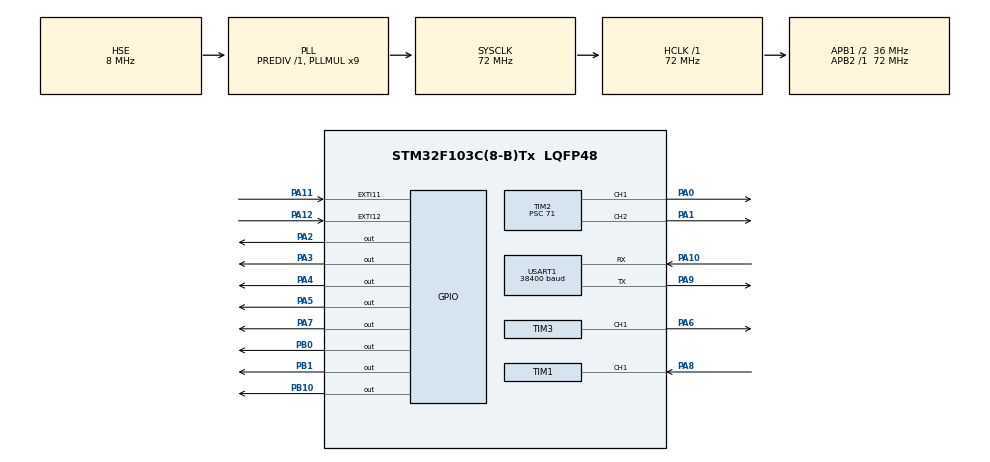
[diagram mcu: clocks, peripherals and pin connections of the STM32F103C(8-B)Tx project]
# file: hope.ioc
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FREERTOS.INCLUDE_vTaskDelayUntil=1
FREERTOS.Queues01=uartQueue,16,uint16_t,0,Dynamic,NULL,NULL
FREERTOS.Tasks01=defaultTask,0,128,StartDefaultTask,Default,NULL,Dynamic,NULL,NULL;myTask02,-3,128,StartTask02,Default,NULL,Dynamic,NULL,NULL
FREERTOS.configTOTAL_HEAP_SIZE=10240
Mcu.Family=STM32F1
Mcu.Name=STM32F103C(8-B)Tx
Mcu.Package=LQFP48
NVIC.EXTI15_10_IRQn=true\:5\:0\:false\:false\:true\:true\:true\:true\:true
NVIC.PriorityGroup=NVIC_PRIORITYGROUP_4
NVIC.TIM1_CC_IRQn=true\:5\:0\:false\:false\:true\:true\:true\:true\:true
NVIC.TIM4_IRQn=true\:15\:0\:false\:false\:true\:false\:false\:true\:true
NVIC.TimeBase=TIM4_IRQn
NVIC.TimeBaseIP=TIM4
NVIC.USART1_IRQn=true\:5\:0\:false\:false\:true\:true\:true\:true\:true
PA0-WKUP.Signal=S_TIM2_CH1_ETR
PA1.Signal=S_TIM2_CH2
PA10.Mode=Asynchronous
PA10.Signal=USART1_RX
PA11.GPIO_ModeDefaultEXTI=GPIO_MODE_IT_RISING_FALLING
PA11.Signal=GPXTI11
PA12.GPIO_ModeDefaultEXTI=GPIO_MODE_IT_RISING_FALLING
PA12.Signal=GPXTI12
PA13.Mode=Serial_Wire
PA13.Signal=SYS_JTMS-SWDIO
PA14.Mode=Serial_Wire
PA14.Signal=SYS_JTCK-SWCLK
PA2.Signal=GPIO_Output
PA3.Signal=GPIO_Output
PA4.Signal=GPIO_Output
PA5.Signal=GPIO_Output
PA6.Signal=S_TIM3_CH1
PA7.Signal=GPIO_Output
PA8.Signal=S_TIM1_CH1
PA9.Mode=Asynchronous
PA9.Signal=USART1_TX
PB0.Signal=GPIO_Output
PB1.Signal=GPIO_Output
PB10.Signal=GPIO_Output
PD0-OSC_IN.Mode=HSE-External-Oscillator
PD0-OSC_IN.Signal=RCC_OSC_IN
PD1-OSC_OUT.Mode=HSE-External-Oscillator
PD1-OSC_OUT.Signal=RCC_OSC_OUT
ProjectManager.HeapSize=0x200
ProjectManager.StackSize=0x400
ProjectManager.TargetToolchain=Makefile
RCC.AHBFreq_Value=72000000
RCC.APB1CLKDivider=RCC_HCLK_DIV2
RCC.APB1Freq_Value=36000000
RCC.APB1TimFreq_Value=72000000
RCC.APB2Freq_Value=72000000
RCC.APB2TimFreq_Value=72000000
RCC.HCLKFreq_Value=72000000
RCC.PLLMUL=RCC_PLL_MUL9
RCC.PLLSourceVirtual=RCC_PLLSOURCE_HSE
RCC.SYSCLKFreq_VALUE=72000000
RCC.SYSCLKSource=RCC_SYSCLKSOURCE_PLLCLK
RCC.USBFreq_Value=72000000
SH.S_TIM1_CH1.0=TIM1_CH1,Input_Capture1_from_TI1
SH.S_TIM2_CH1_ETR.0=TIM2_CH1,PWM Generation1 CH1
SH.S_TIM2_CH2.0=TIM2_CH2,PWM Generation2 CH2
SH.S_TIM3_CH1.0=TIM3_CH1,PWM Generation1 CH1
TIM1.Channel-Input_Capture1_from_TI1=TIM_CHANNEL_1
TIM1.Prescaler=71
TIM2.Channel-PWM\ Generation1\ CH1=TIM_CHANNEL_1
TIM2.Channel-PWM\ Generation2\ CH2=TIM_CHANNEL_2
TIM2.Period=999
TIM2.Prescaler=71
TIM3.Channel-PWM\ Generation1\ CH1=TIM_CHANNEL_1
TIM3.Period=19999
TIM3.Prescaler=71
USART1.BaudRate=38400
USART1.VirtualMode=VM_ASYNC
VP_FREERTOS_VS_CMSIS_V1.Mode=CMSIS_V1
VP_SYS_VS_tim4.Mode=TIM4
board=custom

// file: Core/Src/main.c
/* USER CODE BEGIN Header */
/**
 ******************************************************************************
 * @file           : main.c
 * @brief          : Main program body
 ******************************************************************************
 * @attention
 *
 * Copyright (c) 2026 STMicroelectronics.
 * All rights reserved.
 *
 * This software is licensed under terms that can be found in the LICENSE file
 * in the root directory of this software component.
 * If no LICENSE file comes with this software, it is provided AS-IS.
 *
 ******************************************************************************
 */
/* USER CODE END Header */
#include "main.h"
#include "cmsis_os.h"

/* USER CODE BEGIN Includes */
#include "l298n.h"
#include "servo.h"
#include "tmb12a05.h"
#include "uart.h"
#include "pi_controller.h"
#include "autonomous.h"
#include "led.h"
/* USER CODE END Includes */

TIM_HandleTypeDef htim1;
TIM_HandleTypeDef htim2;
TIM_HandleTypeDef htim3;

UART_HandleTypeDef huart1;

osThreadId defaultTaskHandle;
osThreadId myTask02Handle;
osMessageQId uartQueueHandle;
/* USER CODE BEGIN PV */
osThreadId motorControlTaskHandle;
osThreadId ultrasonicTaskHandle;
osThreadId commandTaskHandle;
osThreadId telemetryTaskHandle;

QueueHandle_t telemQueue;

typedef struct
{
  float rpm_L;
  float rpm_R;
  float pwm_L;
  float pwm_R;
} TelemetryData;

volatile uint8_t rxData;
volatile uint8_t pendingCmd = 0;
volatile int32_t left_ticks = 0;
volatile int32_t right_ticks = 0;
volatile uint8_t turning_ticks = 0;

volatile float target_rpm = 200.0f;
uint8_t isIncreasing = 1;
uint8_t currentAngle = 0;
uint8_t buffer[256];
uint8_t isAutonomous = 0;
uint8_t isBlocked = 0;
uint8_t sonarScan = 0;

// enum DIR
// {
//   IDLE,
//   FRONT,
//   LEFT,
//   RIGHT,
//   BACK
// };

// enum CAR_STATE {
//   SCAN,
//   MOVE
// };

volatile uint8_t looKingDirection = FRONT;
// volatile uint8_t servoDirection = FRONT;
volatile uint8_t goingDirection = FRONT;
volatile uint8_t carState = MOVE;
volatile uint8_t scanDone = 0;

TMB12A05 t = {0};
LED led_left;
LED led_right;
Servo s;
L298N_Motor left_motor;
L298N_Motor right_motor;
PI_Controller ctl_L;
PI_Controller ctl_R;
AutonomousController auto_ctl;

volatile int8_t motor_x = 0;
volatile int8_t motor_y = 0;

volatile uint32_t L_t = 0, L_dt = 0, R_t = 0, R_dt = 0;
// uint8_t data;
/* USER CODE END PV */

void SystemClock_Config(void);
static void MX_GPIO_Init(void);
static void MX_TIM1_Init(void);
static void MX_TIM2_Init(void);
static void MX_TIM3_Init(void);
static void MX_USART1_UART_Init(void);
void StartDefaultTask(void const * argument);
void StartTask02(void const * argument);

/* USER CODE BEGIN PFP */
void StartMotorControlTask(void const *argument);
void StartUltrasonicTask(void const *argument);
void StartCommandTask(void const *argument);
void StartTelemetryTask(void const *argument);

void HAL_GPIO_EXTI_Callback(uint16_t GPIO_Pin)
{
  uint32_t now = DWT->CYCCNT;
  if (GPIO_Pin == GPIO_PIN_12)
  {
    // HAL_GPIO_WritePin(GPIOC, GPIO_PIN_13, GPIO_PIN_SET);
    L_dt = now - L_t;
    L_t = now;
    ++left_ticks;
    // turning_ticks += (goingDirection == RIGHT || goingDirection == BACK) ? 1:0;
    auto_ctl.turning_ticks += (auto_ctl.goingDirection == RIGHT || auto_ctl.goingDirection == BACK) ? 1:0;
  }
  else if (GPIO_Pin == GPIO_PIN_11)
  {
    R_dt = now - R_t;
    R_t = now;
    ++right_ticks;
    // turning_ticks += (goingDirection == LEFT) ? 1:0;
    auto_ctl.turning_ticks += (auto_ctl.goingDirection == LEFT || auto_ctl.goingDirection == BACK) ? 1:0;
  }

  else
  {
    __NOP();
  }
}

void delay_us(uint16_t time_us)
{
  __HAL_TIM_SET_COUNTER(&htim1, 0);

  while (htim1.Instance->CNT < time_us)
    ;
}

void delay_ms(uint16_t time_ms)
{
  for (uint16_t i = 0; i < time_ms; ++i)
  {
    delay_us(1000);
  }
}

// void delay (uint16_t time)
// {
// 	__HAL_TIM_SET_COUNTER(&htim1, 0);
// 	while (__HAL_TIM_GET_COUNTER (&htim1) < time);
// }

uint32_t IC_Val1 = 0;
uint32_t IC_Val2 = 0;
uint32_t Difference = 0;
uint8_t Is_First_Captured = 0; // is the first value captured ?
uint32_t Distance = 400;
uint32_t leftDistance = 0;
uint32_t rightDistance = 0;

#define TRIG_PIN GPIO_PIN_7
#define TRIG_PORT GPIOA

void HAL_TIM_IC_CaptureCallback(TIM_HandleTypeDef *htim)
{
  if (htim->Channel == HAL_TIM_ACTIVE_CHANNEL_1 && htim->Instance == TIM1) // if the interrupt source is channel1
  {
    if (Is_First_Captured == 0) // if the first value is not captured
    {
      IC_Val1 = HAL_TIM_ReadCapturedValue(htim, TIM_CHANNEL_1); // read the first value
      Is_First_Captured = 1;                                    // set the first captured as true
      // Now change the polarity to falling edge
      __HAL_TIM_SET_CAPTUREPOLARITY(htim, TIM_CHANNEL_1, TIM_INPUTCHANNELPOLARITY_FALLING);
    }

    else if (Is_First_Captured == 1) // if the first is already captured
    {
      IC_Val2 = HAL_TIM_ReadCapturedValue(htim, TIM_CHANNEL_1); // read second value
      __HAL_TIM_SET_COUNTER(htim, 0);                           // reset the counter

      if (IC_Val2 > IC_Val1)
      {
        Difference = IC_Val2 - IC_Val1;
      }

      else if (IC_Val1 > IC_Val2)
      {
        Difference = (0xffff - IC_Val1) + IC_Val2;
      }

      Distance = Difference * .034 / 2;
      Is_First_Captured = 0; // set it back to false

      if (isAutonomous)
      {
        if(auto_ctl.looKingDirection == FRONT) {
          auto_ctl.frontDistance = Distance;
        }
        else if (!auto_ctl.leftDistance && auto_ctl.looKingDirection == LEFT)
        {
          // leftDistance = Distance;
          auto_ctl.leftDistance = Distance;
        }
        else if (!auto_ctl.rightDistance && auto_ctl.looKingDirection == RIGHT)
        {
          // rightDistance = Distance;
          auto_ctl.rightDistance = Distance;
        }
      }

      // set polarity to rising edge
      __HAL_TIM_SET_CAPTUREPOLARITY(htim, TIM_CHANNEL_1, TIM_INPUTCHANNELPOLARITY_RISING);
      __HAL_TIM_DISABLE_IT(&htim1, TIM_IT_CC1);
    }
  }
}

uint32_t pulse_us = 0;

void HCSR04_Read(void)
{
  HAL_GPIO_WritePin(TRIG_PORT, TRIG_PIN, GPIO_PIN_SET); // pull the TRIG pin HIGH
  // delay_us(10);                                           // wait for 10 us
  for (volatile uint16_t i = 0; i < 720; ++i)
  {
    __NOP();
  }
  HAL_GPIO_WritePin(TRIG_PORT, TRIG_PIN, GPIO_PIN_RESET); // pull the TRIG pin low

  __HAL_TIM_ENABLE_IT(&htim1, TIM_IT_CC1);
}

/* USER CODE END PFP */

int main(void)
{

  /* USER CODE BEGIN 1 */
  // TMB12A05 t = {0};
  // Servo s;
  // L298N_Motor left_motor;
  left_motor.htim = &htim2;
  left_motor.channel = TIM_CHANNEL_1;
  left_motor.forward_port = GPIOA;
  left_motor.forward_pin = GPIO_PIN_2;
  left_motor.backward_port = GPIOA;
  left_motor.backward_pin = GPIO_PIN_3;
  // L298N_Motor right_motor;
  right_motor.htim = &htim2;
  right_motor.channel = TIM_CHANNEL_2;
  right_motor.forward_port = GPIOA;
  right_motor.forward_pin = GPIO_PIN_4;
  right_motor.backward_port = GPIOA;
  right_motor.backward_pin = GPIO_PIN_5;
  // uint8_t data;
  /* USER CODE END 1 */

  /* MCU Configuration--------------------------------------------------------*/

  /* Reset of all peripherals, Initializes the Flash interface and the Systick. */
  HAL_Init();

  /* Configure the system clock */
  SystemClock_Config();

  /* Initialize all configured peripherals */
  MX_GPIO_Init();
  MX_TIM1_Init();
  MX_TIM2_Init();
  MX_TIM3_Init();
  MX_USART1_UART_Init();
  /* USER CODE BEGIN 2 */
  CoreDebug->DEMCR |= CoreDebug_DEMCR_TRCENA_Msk;
  DWT->CYCCNT = 0;
  DWT->CTRL |= DWT_CTRL_CYCCNTENA_Msk; // 72 MHz

  Servo_Init(&s, &htim3, TIM_CHANNEL_1, 500, 2500);
  // uint8_t buffer[256];
  UART_Init(&huart1, buffer, 256);
  HAL_TIM_IC_Start_IT(&htim1, TIM_CHANNEL_1);
  L298N_Motor_Init(&left_motor);
  L298N_Motor_Init(&right_motor);
  TMB12A05_Init(&t, GPIOB, GPIO_PIN_0, 1);
  LED_Init(&led_left, GPIOB, GPIO_PIN_10, 1);
  LED_Init(&led_right, GPIOB, GPIO_PIN_1, 1);
  AutonomousController_Init(&auto_ctl);
  telemQueue = xQueueCreate(1, sizeof(TelemetryData));
  /* USER CODE END 2 */

  /* Create the queue(s) */
  /* definition and creation of uartQueue */
  osMessageQDef(uartQueue, 16, uint16_t);
  uartQueueHandle = osMessageCreate(osMessageQ(uartQueue), NULL);

  /* Create the thread(s) */
  /* definition and creation of defaultTask */
  osThreadDef(defaultTask, StartDefaultTask, osPriorityNormal, 0, 128);
  defaultTaskHandle = osThreadCreate(osThread(defaultTask), NULL);

  /* definition and creation of myTask02 */
  osThreadDef(myTask02, StartTask02, osPriorityIdle, 0, 128);
  myTask02Handle = osThreadCreate(osThread(myTask02), NULL);

  /* USER CODE BEGIN RTOS_THREADS */
  /* add threads, ... */
  osThreadDef(motorControlTask, StartMotorControlTask, osPriorityRealtime, 0, 128);
  motorControlTaskHandle = osThreadCreate(osThread(motorControlTask), NULL);

  osThreadDef(ultrasonicControlTask, StartUltrasonicTask, osPriorityHigh, 0, 128);
  ultrasonicTaskHandle = osThreadCreate(osThread(ultrasonicControlTask), NULL);

  osThreadDef(commandTask, StartCommandTask, osPriorityAboveNormal, 0, 512);
  commandTaskHandle = osThreadCreate(osThread(commandTask), NULL);
  UART_SetRxTaskHandle((TaskHandle_t)commandTaskHandle);

  osThreadDef(telemetryTask, StartTelemetryTask, osPriorityNormal, 0, 256);
  telemetryTaskHandle = osThreadCreate(osThread(telemetryTask), NULL);
  /* USER CODE END RTOS_THREADS */

  /* Start scheduler */
  osKernelStart();

  /* We should never get here as control is now taken by the scheduler */

  /* Infinite loop */
  while (1)
  {

  }
}

void SystemClock_Config(void)
{
  RCC_OscInitTypeDef RCC_OscInitStruct = {0};
  RCC_ClkInitTypeDef RCC_ClkInitStruct = {0};

  /** Initializes the RCC Oscillators according to the specified parameters
  * in the RCC_OscInitTypeDef structure.
  */
  RCC_OscInitStruct.OscillatorType = RCC_OSCILLATORTYPE_HSE;
  RCC_OscInitStruct.HSEState = RCC_HSE_ON;
  RCC_OscInitStruct.HSEPredivValue = RCC_HSE_PREDIV_DIV1;
  RCC_OscInitStruct.HSIState = RCC_HSI_ON;
  RCC_OscInitStruct.PLL.PLLState = RCC_PLL_ON;
  RCC_OscInitStruct.PLL.PLLSource = RCC_PLLSOURCE_HSE;
  RCC_OscInitStruct.PLL.PLLMUL = RCC_PLL_MUL9;
  if (HAL_RCC_OscConfig(&RCC_OscInitStruct) != HAL_OK)
  {
    Error_Handler();
  }

  /** Initializes the CPU, AHB and APB buses clocks
  */
  RCC_ClkInitStruct.ClockType = RCC_CLOCKTYPE_HCLK|RCC_CLOCKTYPE_SYSCLK
                              |RCC_CLOCKTYPE_PCLK1|RCC_CLOCKTYPE_PCLK2;
  RCC_ClkInitStruct.SYSCLKSource = RCC_SYSCLKSOURCE_PLLCLK;
  RCC_ClkInitStruct.AHBCLKDivider = RCC_SYSCLK_DIV1;
  RCC_ClkInitStruct.APB1CLKDivider = RCC_HCLK_DIV2;
  RCC_ClkInitStruct.APB2CLKDivider = RCC_HCLK_DIV1;

  if (HAL_RCC_ClockConfig(&RCC_ClkInitStruct, FLASH_LATENCY_2) != HAL_OK)
  {
    Error_Handler();
  }
}

static void MX_TIM1_Init(void)
{

  TIM_MasterConfigTypeDef sMasterConfig = {0};
  TIM_IC_InitTypeDef sConfigIC = {0};

  htim1.Instance = TIM1;
  htim1.Init.Prescaler = 71;
  htim1.Init.CounterMode = TIM_COUNTERMODE_UP;
  htim1.Init.Period = 65535;
  htim1.Init.ClockDivision = TIM_CLOCKDIVISION_DIV1;
  htim1.Init.RepetitionCounter = 0;
  htim1.Init.AutoReloadPreload = TIM_AUTORELOAD_PRELOAD_DISABLE;
  if (HAL_TIM_IC_Init(&htim1) != HAL_OK)
  {
    Error_Handler();
  }
  sMasterConfig.MasterOutputTrigger = TIM_TRGO_RESET;
  sMasterConfig.MasterSlaveMode = TIM_MASTERSLAVEMODE_DISABLE;
  if (HAL_TIMEx_MasterConfigSynchronization(&htim1, &sMasterConfig) != HAL_OK)
  {
    Error_Handler();
  }
  sConfigIC.ICPolarity = TIM_INPUTCHANNELPOLARITY_RISING;
  sConfigIC.ICSelection = TIM_ICSELECTION_DIRECTTI;
  sConfigIC.ICPrescaler = TIM_ICPSC_DIV1;
  sConfigIC.ICFilter = 0;
  if (HAL_TIM_IC_ConfigChannel(&htim1, &sConfigIC, TIM_CHANNEL_1) != HAL_OK)
  {
    Error_Handler();
  }

}

static void MX_TIM2_Init(void)
{

  TIM_MasterConfigTypeDef sMasterConfig = {0};
  TIM_OC_InitTypeDef sConfigOC = {0};

  htim2.Instance = TIM2;
  htim2.Init.Prescaler = 71;
  htim2.Init.CounterMode = TIM_COUNTERMODE_UP;
  htim2.Init.Period = 999;
  htim2.Init.ClockDivision = TIM_CLOCKDIVISION_DIV1;
  htim2.Init.AutoReloadPreload = TIM_AUTORELOAD_PRELOAD_DISABLE;
  if (HAL_TIM_PWM_Init(&htim2) != HAL_OK)
  {
    Error_Handler();
  }
  sMasterConfig.MasterOutputTrigger = TIM_TRGO_RESET;
  sMasterConfig.MasterSlaveMode = TIM_MASTERSLAVEMODE_DISABLE;
  if (HAL_TIMEx_MasterConfigSynchronization(&htim2, &sMasterConfig) != HAL_OK)
  {
    Error_Handler();
  }
  sConfigOC.OCMode = TIM_OCMODE_PWM1;
  sConfigOC.Pulse = 0;
  sConfigOC.OCPolarity = TIM_OCPOLARITY_HIGH;
  sConfigOC.OCFastMode = TIM_OCFAST_DISABLE;
  if (HAL_TIM_PWM_ConfigChannel(&htim2, &sConfigOC, TIM_CHANNEL_1) != HAL_OK)
  {
    Error_Handler();
  }
  if (HAL_TIM_PWM_ConfigChannel(&htim2, &sConfigOC, TIM_CHANNEL_2) != HAL_OK)
  {
    Error_Handler();
  }
  HAL_TIM_MspPostInit(&htim2);

}

static void MX_TIM3_Init(void)
{

  TIM_MasterConfigTypeDef sMasterConfig = {0};
  TIM_OC_InitTypeDef sConfigOC = {0};

  htim3.Instance = TIM3;
  htim3.Init.Prescaler = 71;
  htim3.Init.CounterMode = TIM_COUNTERMODE_UP;
  htim3.Init.Period = 19999;
  htim3.Init.ClockDivision = TIM_CLOCKDIVISION_DIV1;
  htim3.Init.AutoReloadPreload = TIM_AUTORELOAD_PRELOAD_DISABLE;
  if (HAL_TIM_PWM_Init(&htim3) != HAL_OK)
  {
    Error_Handler();
  }
  sMasterConfig.MasterOutputTrigger = TIM_TRGO_RESET;
  sMasterConfig.MasterSlaveMode = TIM_MASTERSLAVEMODE_DISABLE;
  if (HAL_TIMEx_MasterConfigSynchronization(&htim3, &sMasterConfig) != HAL_OK)
  {
    Error_Handler();
  }
  sConfigOC.OCMode = TIM_OCMODE_PWM1;
  sConfigOC.Pulse = 0;
  sConfigOC.OCPolarity = TIM_OCPOLARITY_HIGH;
  sConfigOC.OCFastMode = TIM_OCFAST_DISABLE;
  if (HAL_TIM_PWM_ConfigChannel(&htim3, &sConfigOC, TIM_CHANNEL_1) != HAL_OK)
  {
    Error_Handler();
  }
  HAL_TIM_MspPostInit(&htim3);

}

static void MX_USART1_UART_Init(void)
{

  huart1.Instance = USART1;
  huart1.Init.BaudRate = 38400;
  huart1.Init.WordLength = UART_WORDLENGTH_8B;
  huart1.Init.StopBits = UART_STOPBITS_1;
  huart1.Init.Parity = UART_PARITY_NONE;
  huart1.Init.Mode = UART_MODE_TX_RX;
  huart1.Init.HwFlowCtl = UART_HWCONTROL_NONE;
  huart1.Init.OverSampling = UART_OVERSAMPLING_16;
  if (HAL_UART_Init(&huart1) != HAL_OK)
  {
    Error_Handler();
  }

}

static void MX_GPIO_Init(void)
{
  GPIO_InitTypeDef GPIO_InitStruct = {0};

  /* GPIO Ports Clock Enable */
  __HAL_RCC_GPIOD_CLK_ENABLE();
  __HAL_RCC_GPIOA_CLK_ENABLE();
  __HAL_RCC_GPIOB_CLK_ENABLE();

  /*Configure GPIO pin Output Level */
  HAL_GPIO_WritePin(GPIOA, GPIO_PIN_2|GPIO_PIN_3|GPIO_PIN_4|GPIO_PIN_5
                          |GPIO_PIN_7, GPIO_PIN_RESET);

  /*Configure GPIO pin Output Level */
  HAL_GPIO_WritePin(GPIOB, GPIO_PIN_0|GPIO_PIN_1|GPIO_PIN_10, GPIO_PIN_RESET);

  /*Configure GPIO pins : PA2 PA3 PA4 PA5
                           PA7 */
  GPIO_InitStruct.Pin = GPIO_PIN_2|GPIO_PIN_3|GPIO_PIN_4|GPIO_PIN_5
                          |GPIO_PIN_7;
  GPIO_InitStruct.Mode = GPIO_MODE_OUTPUT_PP;
  GPIO_InitStruct.Pull = GPIO_NOPULL;
  GPIO_InitStruct.Speed = GPIO_SPEED_FREQ_LOW;
  HAL_GPIO_Init(GPIOA, &GPIO_InitStruct);

  /*Configure GPIO pins : PB0 PB1 PB10 */
  GPIO_InitStruct.Pin = GPIO_PIN_0|GPIO_PIN_1|GPIO_PIN_10;
  GPIO_InitStruct.Mode = GPIO_MODE_OUTPUT_PP;
  GPIO_InitStruct.Pull = GPIO_NOPULL;
  GPIO_InitStruct.Speed = GPIO_SPEED_FREQ_LOW;
  HAL_GPIO_Init(GPIOB, &GPIO_InitStruct);

  /*Configure GPIO pins : PA11 PA12 */
  GPIO_InitStruct.Pin = GPIO_PIN_11|GPIO_PIN_12;
  GPIO_InitStruct.Mode = GPIO_MODE_IT_RISING_FALLING;
  GPIO_InitStruct.Pull = GPIO_NOPULL;
  HAL_GPIO_Init(GPIOA, &GPIO_InitStruct);

  /* EXTI interrupt init*/
  HAL_NVIC_SetPriority(EXTI15_10_IRQn, 5, 0);
  HAL_NVIC_EnableIRQ(EXTI15_10_IRQn);

}

/* USER CODE BEGIN 4 */
void StartMotorControlTask(void const *argument)
{
  TickType_t xLastWakeTime = xTaskGetTickCount();
  const TickType_t xFrequency = pdMS_TO_TICKS(100);
  int32_t last_L = 0;
  int32_t last_R = 0;

  Speed spd_L = {0};
  Speed spd_R = {0};

  for (;;)
  {
    if (isAutonomous)
    {
      AutonomousController_Update(&auto_ctl);
    }

    if (pendingCmd == 'M' || isAutonomous)
    {
      if(auto_ctl.carState == SCAN) {
        L298N_Coast(&right_motor);
        L298N_Coast(&left_motor);
        vTaskDelayUntil(&xLastWakeTime, xFrequency);
        continue;
      }

      if (Distance <= 15 && (motor_x - motor_y) > 0 && (-motor_x - motor_y) > 0 && !sonarScan)
      {
        L298N_Brake(&right_motor);
        L298N_Brake(&left_motor);
        vTaskDelayUntil(&xLastWakeTime, xFrequency);
        continue;
      }

      float target_rpm_L = 0;
      float target_rpm_R = 0;

      if (!isAutonomous)
      {
        target_rpm_L = (motor_x - motor_y) / 100.0f * MAX_RPM;
        target_rpm_R = (-motor_x - motor_y) / 100.0f * MAX_RPM;
      }
      else
      {
        target_rpm_L = AUTO_PWM / 100.0f * MAX_RPM;
        target_rpm_R = AUTO_PWM / 100.0f * MAX_RPM;
      }

      taskENTER_CRITICAL();
      uint32_t tL = L_t;
      uint32_t tR = R_t;
      uint32_t now = DWT->CYCCNT;
      taskEXIT_CRITICAL();

      float rpm_L = Speed_Update(&spd_L, left_ticks, tL, now);
      float rpm_R = Speed_Update(&spd_R, right_ticks, tR, now);

      float pwm_L = System_Input(&ctl_L, BASE_PWM, (fabsf(target_rpm_L) - MIN_RPM) / (MAX_RPM - MIN_RPM) * (100.0f - BASE_PWM), (fabsf(target_rpm_L) - rpm_L) / (MAX_RPM - MIN_RPM) * (100.0f - BASE_PWM), 0.1f);

      float pwm_R = System_Input(&ctl_R, BASE_PWM, (fabsf(target_rpm_R) - MIN_RPM) / (MAX_RPM - MIN_RPM) * (100.0f - BASE_PWM), (fabsf(target_rpm_R) - rpm_R) / (MAX_RPM - MIN_RPM) * (100.0f - BASE_PWM), 0.1f);

      if (!isAutonomous)
      {
        if (target_rpm_L > 0)
        {
          L298N_Forward(&left_motor, (uint8_t)pwm_L);
        }
        else if (target_rpm_L < 0)
        {
          L298N_Backward(&left_motor, (uint8_t)pwm_L);
        }
        else
        {
          L298N_Coast(&left_motor);
        }

        if (target_rpm_R > 0)
        {
          L298N_Forward(&right_motor, (uint8_t)pwm_R);
        }
        else if (target_rpm_R < 0)
        {
          L298N_Backward(&right_motor, (uint8_t)pwm_R);
        }
        else
        {
          L298N_Coast(&right_motor);
        }
      } else if (auto_ctl.carState == MOVE){
        switch (auto_ctl.goingDirection)
        {
        case FRONT:
          if(auto_ctl.isBlocked) break;
          L298N_Forward(&left_motor, (uint8_t)pwm_L);
          L298N_Forward(&right_motor, (uint8_t)pwm_R);
          break;
        case RIGHT:
          L298N_Forward(&left_motor, (uint8_t)pwm_L);
          L298N_Backward(&right_motor, (uint8_t)pwm_R);
          // ctl_R.integral = 0;
          break;
        case LEFT:
          L298N_Forward(&right_motor, (uint8_t)pwm_R);
          L298N_Backward(&left_motor, (uint8_t)pwm_L);
          // ctl_L.integral = 0;
          break;
        case BACK:
          L298N_Backward(&left_motor, (uint8_t)pwm_L);
          L298N_Backward(&right_motor, (uint8_t)pwm_R);
          break;
        case IDLE:
          L298N_Brake(&left_motor);
          L298N_Brake(&right_motor);
          ctl_L.integral = 0;
          ctl_R.integral = 0;
          break;
        default:
          break;
        }
      }

      TelemetryData currentData;
      currentData.pwm_L = pwm_L;
      currentData.pwm_R = pwm_R;
      currentData.rpm_L = rpm_L;
      currentData.rpm_R = rpm_R;

      xQueueOverwrite(telemQueue, &currentData);
    }

    vTaskDelayUntil(&xLastWakeTime, xFrequency);
  }
}

void StartUltrasonicTask(void const *argument)
{
  for (;;)
  {
    HCSR04_Read();
    osDelay(100);
  }
}

void StartCommandTask(void const *argument)
{
  uint8_t byte;
  uint8_t in_M = 0;
  uint8_t len = 0;
  char line[32];

  for (;;)
  {
    ulTaskNotifyTake(pdTRUE, portMAX_DELAY);

    while (UART_Read_Byte(&byte))
    {
      if (byte == 'M')
      {
        in_M = 1;
        len = 0;
        continue;
      }

      if (byte == 'H'
        || byte == 'G'
        || byte == 'F'
        || byte == 'J'
        || byte == 'K'
        || byte == 'I'
        || byte == 'Q')
      {
        pendingCmd = byte;
        continue;
      }

      if (!in_M)
        continue;

      if (byte == '\r' || byte == '\n')
      {
        if (len > 0)
        {
          line[len] = '\0';
          int x, y;
          if (sscanf(line, "%d %d", &x, &y) == 2)
          {
            taskENTER_CRITICAL();
            motor_x = x;
            motor_y = y;
            pendingCmd = 'M';
            if (x == 0 && y == 0)
            {
              ctl_L.integral = 0;
              ctl_R.integral = 0;
            }
            taskEXIT_CRITICAL();
            // osDelay(200);
          }
        }
        in_M = 0;
        len = 0;
      }
      else if (len < sizeof(line) - 1)
        line[len++] = byte;
      else
        in_M = 0;
    }
  }
}

void StartTelemetryTask(void const *argument)
{
  TelemetryData telemData;
  char temp[256];
  for (;;)
  {
    if (xQueueReceive(telemQueue, &telemData, pdMS_TO_TICKS(500)) == pdPASS)
    {

      // int c = snprintf(temp, sizeof(temp), "rpm_R:%d rpm_L:%d pwm_R:%d pwm_L:%d ticks_L:%d ticks_R:%d angle:%d distance:%d led_r:%d led_l:%d sonar: %d autonomous:%d\r\n", (int)(telemData.rpm_R * 10), (int)(telemData.rpm_L * 10), (int)(telemData.pwm_R * 10), (int)(telemData.pwm_L * 10), left_ticks, right_ticks, (int)currentAngle, (unsigned)Distance, led_right.isOn, led_left.isOn, sonarScan, isAutonomous);
      int c = snprintf(temp, sizeof(temp), "%d,%d,%d,%d,%d,%d,%d,%d,%d,%d,%d,%d\r\n", (int)(telemData.rpm_R * 10), (int)(telemData.rpm_L * 10), (int)(telemData.pwm_R * 10), (int)(telemData.pwm_L * 10), left_ticks, right_ticks, (int)currentAngle, (int)Distance, led_right.isOn, led_left.isOn, sonarScan, isAutonomous);
      // int c = snprintf(temp, sizeof(temp), "left:%d right:%d\r\n", left_ticks, right_ticks);
      //   int c = snprintf(temp, sizeof(temp), "left:%d right:%d\r\n", left_ticks, right_ticks);
      UART_Send_Data(temp, c);
    }
    // int c = snprintf(temp, sizeof(temp), "left:%d right:%d\r\n", left_ticks, right_ticks);
    // int c = snprintf(temp, sizeof(temp), "%ld %ld\r\n", (int)(currentAngle), (unsigned)Distance);
    // int c = snprintf(temp, sizeof(temp), "%d %d\r\n", motor_x, motor_y);
    // UART_Send_Data(temp, c);
    // osDelay(500);
  }
}
/* USER CODE END 4 */

void StartDefaultTask(void const * argument)
{
  /* USER CODE BEGIN 5 */
  /* Infinite loop */
  uint8_t horn_flag = 1;
  for (;;)
  {
    TMB12A05_Update(&t);
    LED_Update(&led_left);
    LED_Update(&led_right);

    if (isAutonomous)
    {
      if(auto_ctl.isBlocked && horn_flag) {
        TMB12A05_Beep_Start(&t, 10);
        horn_flag = 0;
      }

      if (auto_ctl.isBlocked && !auto_ctl.leftDistance && !auto_ctl.rightDistance && auto_ctl.carState == SCAN)
      {
        Servo_Write_Angle(&s, 135);
        osDelay(500);
        auto_ctl.looKingDirection = LEFT;
        osDelay(200);

        Servo_Write_Angle(&s, 45);
        osDelay(500);
        auto_ctl.looKingDirection = RIGHT;
        osDelay(200);

        auto_ctl.looKingDirection = FRONT;
        Servo_Write_Angle(&s, 90);

        auto_ctl.scanDone = 1;
      }
      else if(auto_ctl.isBlocked && auto_ctl.carState == MOVE) {
        if(auto_ctl.goingDirection == LEFT) {
          LED_Cycle_Blink(&led_left, 10, 100);
        } else if (auto_ctl.goingDirection == RIGHT) {
          LED_Cycle_Blink(&led_right, 10, 100);
        }
      }
      else if(!auto_ctl.isBlocked)
      {
        Servo_Write_Angle(&s, 90);
        horn_flag = 1;
      }
    } else if(!sonarScan) {
      Servo_Write_Angle(&s, 90);
    }

    switch (pendingCmd)
    {
    case 'H':
      TMB12A05_Beep_Start(&t, 10);
      break;
    case 'G':
      LED_Toggle(&led_left);
      break;
    case 'F':
      LED_Toggle(&led_right);
      break;
    case 'J':
      if(led_left.repeat) {
        LED_Stop_Blink(&led_left);
      } else LED_Repeat_Blink(&led_left, 100);
      break;
    case 'K':
      if(led_right.repeat) {
        LED_Stop_Blink(&led_right);
      } else LED_Repeat_Blink(&led_right, 100);
      break;
    case 'I':
      isAutonomous = 1 - isAutonomous;
      sonarScan = 0;
      break;
    case 'Q':
      if(isAutonomous) break;
      sonarScan = 1 - sonarScan;
      break;
    default:
      break;
    }
    if(pendingCmd != 'M') {
      pendingCmd = 0;
    }
    // if (pendingCmd == 'H' || pendingCmd == 'G' || pendingCmd == 'F')
    // {
    //   if (pendingCmd == 'H')
    //   {
    //     TMB12A05_Beep_Start(&t, 10);
    //   }
    //   else if (pendingCmd == 'G')
    //   {
    //     LED_Toggle(&led_left);
    //   } else if(pendingCmd == 'F') {
    //     LED_Toggle(&led_right);
    //   }

    //   pendingCmd = 0;
    // }
    if (sonarScan) {
      Servo_Write_Angle(&s, (uint8_t)currentAngle);
      if(isIncreasing) {
        ++currentAngle;
        if(currentAngle >= 180) {
          isIncreasing = 0;
        }
      } else {
        --currentAngle;
        if(currentAngle <= 0){
          isIncreasing = 1;
        }
      }
    }

    osDelay(50);
  }
  /* USER CODE END 5 */
}

void StartTask02(void const * argument)
{
  for (;;)
  {
    osDelay(1);
  }
}

void HAL_TIM_PeriodElapsedCallback(TIM_HandleTypeDef *htim)
{
  if (htim->Instance == TIM4)
  {
    HAL_IncTick();
  }
}

void Error_Handler(void)
{
  __disable_irq();
  while (1)
  {
  }
}
